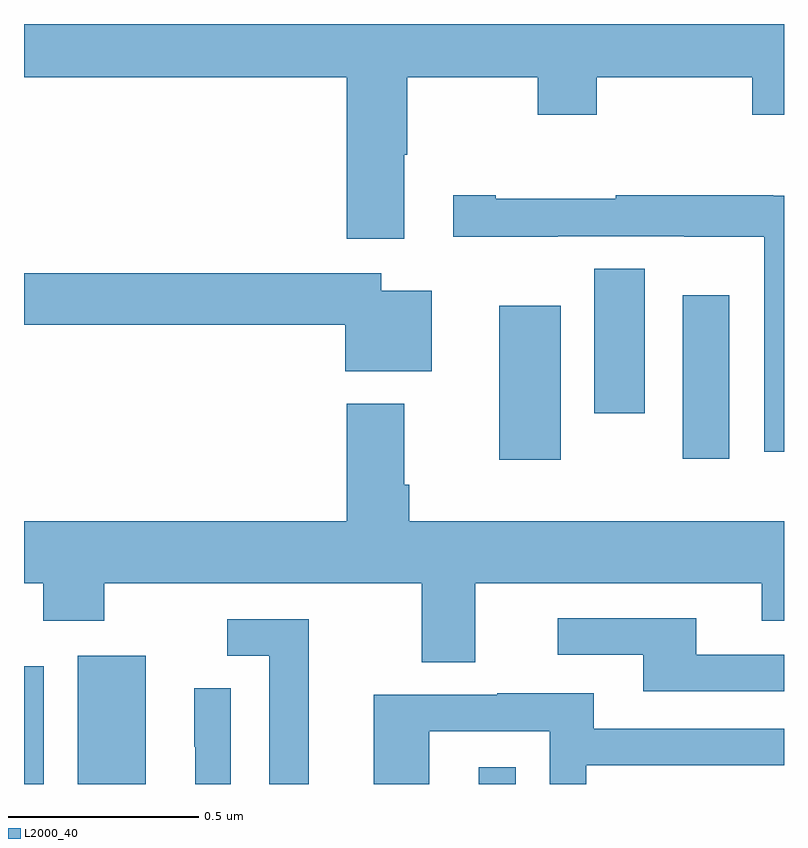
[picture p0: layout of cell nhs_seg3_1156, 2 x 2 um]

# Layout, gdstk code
import gdstk
lib = gdstk.Library(unit=1e-6, precision=1e-09)
def R(c, l, rs):  # rectangles x0, y0, x1, y1
    for r in rs: c.add(gdstk.rectangle(r[:2], r[2:], *l))
def P(c, l, *ps):  # polygons
    for p in ps: c.add(gdstk.Polygon(p, *l))
L2000_40 = (2000, 40)

nhs_seg3_1156 = lib.new_cell('nhs_seg3_1156')
R(nhs_seg3_1156, L2000_40, [(125,688.4,125.052,688.71), (125.141,688.4,125.32,688.738), (126.197,688.4,126.294,688.444), (126.251,689.253,126.412,689.659), (126.734,689.256,126.856,689.686), (126.5,689.376,126.634,689.756)])
P(nhs_seg3_1156, L2000_40, [(126.001,690.056),(126.009,690.056),(126.009,690.26),(126.352,690.26),(126.352,690.161),(126.507,690.161),(126.507,690.26),(126.916,690.26),(126.916,690.161),(127,690.161),(127,690.4),(125,690.4),(125,690.26),(125.849,690.26),(125.849,689.835),(126.001,689.835)],
  [(127,689.948),(126.972,689.948),(126.972,689.95),(126.557,689.95),(126.557,689.94),(126.241,689.94),(126.241,689.95),(126.129,689.95),(126.129,689.84),(126.404,689.84),(126.404,689.841),(126.738,689.841),(126.738,689.84),(126.948,689.84),(126.948,689.274),(127,689.274)],
  [(126.073,689.698),(125.94,689.698),(125.94,689.744),(125,689.744),(125,689.608),(125.846,689.608),(125.846,689.486),(126.073,689.486)],
  [(126.187,688.928),(126.941,688.928),(126.941,688.829),(127,688.829),(127,689.092),(126.014,689.092),(126.014,689.188),(126.001,689.188),(126.001,689.401),(125.849,689.401),(125.849,689.092),(125,689.092),(125,688.928),(125.051,688.928),(125.051,688.829),(125.211,688.829),(125.211,688.928),(126.047,688.928),(126.047,688.72),(126.187,688.72)],
  [(127,688.74),(126.769,688.74),(126.769,688.836),(126.405,688.836),(126.405,688.74),(126.629,688.74),(126.629,688.644),(127,688.644)],
  [(125.749,688.833),(125.535,688.833),(125.535,688.737),(125.645,688.737),(125.645,688.4),(125.749,688.4)],
  [(125.544,688.652),(125.448,688.652),(125.448,688.498),(125.45,688.498),(125.45,688.4),(125.544,688.4)],
  [(126.066,688.539),(126.384,688.539),(126.384,688.4),(126.48,688.4),(126.48,688.449),(127,688.449),(127,688.545),(126.499,688.545),(126.499,688.639),(126.245,688.639),(126.245,688.635),(125.921,688.635),(125.921,688.4),(126.066,688.4)])

lib.write_gds('nhs_seg3_1156.gds')
